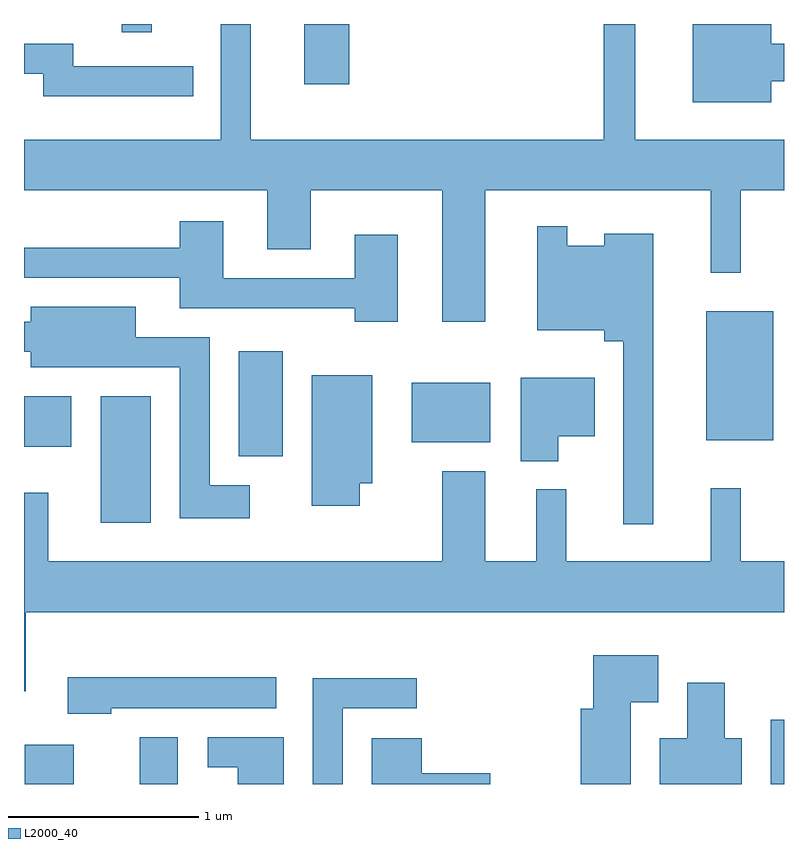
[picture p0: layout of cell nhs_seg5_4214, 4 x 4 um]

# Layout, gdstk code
import gdstk
lib = gdstk.Library(unit=1e-6, precision=1e-09)
def R(c, l, rs):  # rectangles x0, y0, x1, y1
    for r in rs: c.add(gdstk.rectangle(r[:2], r[2:], *l))
def P(c, l, *ps):  # polygons
    for p in ps: c.add(gdstk.Polygon(p, *l))
L2000_40 = (2000, 40)

nhs_seg5_4214 = lib.new_cell('nhs_seg5_4214')
R(nhs_seg5_4214, L2000_40, [(309.616,1498.072,309.874,1498.279), (310.221,1498.072,310.419,1498.319), (313.541,1498.072,313.611,1498.409), (310.016,1499.446,310.279,1500.114), (310.741,1499.796,310.974,1500.349), (309.611,1499.846,309.859,1500.114), (311.651,1499.871,312.064,1500.184), (313.201,1499.881,313.554,1500.559), (311.086,1501.756,311.324,1502.072), (310.126,1502.028,310.284,1502.072)])
P(nhs_seg5_4214, L2000_40, [(312.039,1501.196),(313.226,1501.196),(313.226,1500.763),(313.384,1500.763),(313.384,1501.196),(313.611,1501.196),(313.611,1501.464),(312.829,1501.464),(312.829,1502.072),(312.661,1502.072),(312.661,1501.464),(310.804,1501.464),(310.804,1502.072),(310.646,1502.072),(310.646,1501.464),(309.611,1501.464),(309.611,1501.196),(310.891,1501.196),(310.891,1500.886),(311.119,1500.886),(311.119,1501.196),(311.811,1501.196),(311.811,1500.506),(312.039,1500.506)],
  [(313.544,1501.771),(313.611,1501.771),(313.611,1501.969),(313.544,1501.969),(313.544,1502.072),(313.131,1502.072),(313.131,1501.661),(313.544,1501.661)],
  [(310.503,1501.849),(309.869,1501.849),(309.869,1501.969),(309.611,1501.969),(309.611,1501.811),(309.711,1501.811),(309.711,1501.691),(310.503,1501.691)],
  [(311.579,1500.964),(311.351,1500.964),(311.351,1500.734),(310.659,1500.734),(310.659,1501.034),(310.431,1501.034),(310.431,1500.894),(309.611,1500.894),(309.611,1500.736),(310.431,1500.736),(310.431,1500.576),(311.351,1500.576),(311.351,1500.506),(311.579,1500.506)],
  [(312.924,1500.969),(312.666,1500.969),(312.666,1500.904),(312.469,1500.904),(312.469,1501.008),(312.311,1501.008),(312.311,1500.461),(312.666,1500.461),(312.666,1500.401),(312.766,1500.401),(312.766,1499.438),(312.924,1499.438)],
  [(310.799,1499.644),(310.589,1499.644),(310.589,1500.424),(310.199,1500.424),(310.199,1500.584),(309.646,1500.584),(309.646,1500.504),(309.611,1500.504),(309.611,1500.346),(309.646,1500.346),(309.646,1500.266),(310.431,1500.266),(310.431,1499.471),(310.799,1499.471)],
  [(311.379,1499.656),(311.444,1499.656),(311.444,1500.224),(311.126,1500.224),(311.126,1499.536),(311.379,1499.536)],
  [(312.424,1499.901),(312.614,1499.901),(312.614,1500.209),(312.226,1500.209),(312.226,1499.771),(312.424,1499.771)],
  [(309.619,1498.976),(313.611,1498.976),(313.611,1499.244),(313.384,1499.244),(313.384,1499.628),(313.226,1499.628),(313.226,1499.244),(312.464,1499.244),(312.464,1499.623),(312.306,1499.623),(312.306,1499.244),(312.039,1499.244),(312.039,1499.719),(311.811,1499.719),(311.811,1499.244),(309.739,1499.244),(309.739,1499.604),(309.611,1499.604),(309.611,1498.561),(309.619,1498.561)],
  [(312.804,1498.501),(312.949,1498.501),(312.949,1498.749),(312.606,1498.749),(312.606,1498.469),(312.541,1498.469),(312.541,1498.072),(312.804,1498.072)],
  [(310.069,1498.471),(310.938,1498.471),(310.938,1498.634),(309.841,1498.634),(309.841,1498.441),(310.069,1498.441)],
  [(311.289,1498.471),(311.678,1498.471),(311.678,1498.629),(311.131,1498.629),(311.131,1498.072),(311.289,1498.072)],
  [(313.389,1498.314),(313.299,1498.314),(313.299,1498.604),(313.101,1498.604),(313.101,1498.314),(312.956,1498.314),(312.956,1498.072),(313.389,1498.072)],
  [(310.979,1498.319),(310.578,1498.319),(310.578,1498.161),(310.736,1498.161),(310.736,1498.072),(310.979,1498.072)],
  [(312.064,1498.129),(311.704,1498.129),(311.704,1498.314),(311.441,1498.314),(311.441,1498.072),(312.064,1498.072)])

lib.write_gds('nhs_seg5_4214.gds')
